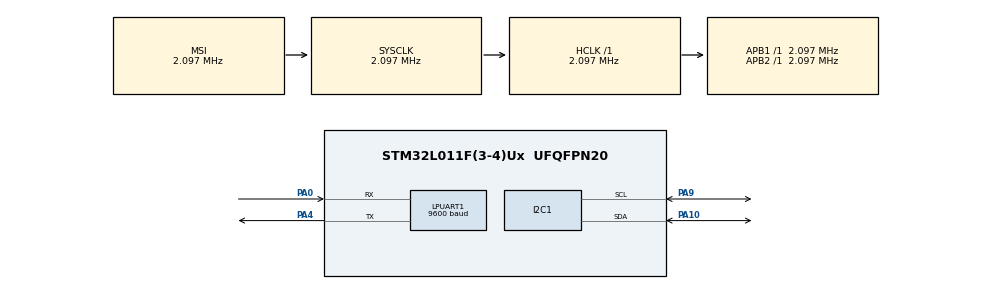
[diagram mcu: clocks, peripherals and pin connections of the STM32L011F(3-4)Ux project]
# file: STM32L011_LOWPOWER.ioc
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I2C1.Timing=0x00000608
LPUART1.BaudRate=9600
LPUART1.WordLength=UART_WORDLENGTH_8B
Mcu.Family=STM32L0
Mcu.Name=STM32L011F(3-4)Ux
Mcu.Package=UFQFPN20
NVIC.RTC_IRQn=true\:0\:0\:false\:false\:true\:true\:true\:true
PA0-CK_IN.Mode=Asynchronous
PA0-CK_IN.Signal=LPUART1_RX
PA10.Mode=I2C
PA10.Signal=I2C1_SDA
PA4.Mode=Asynchronous
PA4.Signal=LPUART1_TX
PA9.Mode=I2C
PA9.Signal=I2C1_SCL
ProjectManager.HeapSize=0x200
ProjectManager.StackSize=0x400
ProjectManager.TargetToolchain=STM32CubeIDE
RCC.AHBFreq_Value=2097000
RCC.APB1Freq_Value=2097000
RCC.APB1TimFreq_Value=2097000
RCC.APB2Freq_Value=2097000
RCC.APB2TimFreq_Value=2097000
RCC.HSE_VALUE=8000000
RCC.HSI16_VALUE=16000000
RCC.HSI_VALUE=16000000
RCC.LSE_VALUE=32768
RCC.MSI_VALUE=2097000
RCC.SYSCLKFreq_VALUE=2097000
RCC.VCOOutputFreq_Value=48000000
RTC.WakeUpClock=RTC_WAKEUPCLOCK_RTCCLK_DIV16
VP_RTC_VS_RTC_Activate.Mode=RTC_Enabled
VP_RTC_VS_RTC_WakeUp_intern.Mode=WakeUp
board=custom

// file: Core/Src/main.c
/* USER CODE BEGIN Header */
/* USER CODE END Header */
#include "main.h"

/* USER CODE BEGIN Includes */
#include "string.h"
#include <stdlib.h>

/* USER CODE END Includes */

I2C_HandleTypeDef hi2c1;

UART_HandleTypeDef hlpuart1;

RTC_HandleTypeDef hrtc;

void SystemClock_Config(void);
static void MX_GPIO_Init(void);
static void MX_RTC_Init(void);
static void MX_I2C1_Init(void);
static void MX_LPUART1_UART_Init(void);
/* USER CODE BEGIN PFP */
#ifdef DEBUG_LOG
	#define DEBUG_PRINT(msg) HAL_UART_Transmit(&hlpuart1, (uint8_t*)msg, strlen(msg), 200)
#else
	#define DEBUG_PRINT(msg) do {} while (0)
#endif
void I2C_Scanner(I2C_HandleTypeDef *hi2c);
/* USER CODE END PFP */

/* USER CODE BEGIN 0 */
/* Função auxiliar para converter byte em Hex (ex: 0x2A) sem usar sprintf */
/* Requer um buffer de pelo menos 3 bytes (2 digitos + \0) */
void Uint8ToHexStr(uint8_t num, char *str) {
	const char hexDigits[] = "0123456789ABCDEF";
	str[0] = hexDigits[(num >> 4) & 0x0F]; // Nibble alto
	str[1] = hexDigits[num & 0x0F];        // Nibble baixo
	str[2] = '\0';                         // Terminador nulo
}

/* Função auxiliar para converter Inteiro em String decimal simples */
void IntToDecStr(uint8_t num, char *str) {
	uint8_t i = 0;
	if (num >= 100)
		str[i++] = (num / 100) + '0';
	if (num >= 10)
		str[i++] = ((num / 10) % 10) + '0';
	str[i++] = (num % 10) + '0';
	str[i] = '\0';
}

void I2C_Scanner(I2C_HandleTypeDef *hi2c) {
	char smallBuf[4];
	uint8_t devices_found = 0;

	DEBUG_PRINT("\r\n--- Scanning I2C bus ---\r\n");

	for (uint8_t addr = 1; addr < 128; addr++) {
		if (HAL_I2C_IsDeviceReady(hi2c, (uint16_t) (addr << 1), 2, 10) == HAL_OK) {
			DEBUG_PRINT("Device found at: 0x");
			Uint8ToHexStr(addr, smallBuf);
			DEBUG_PRINT(smallBuf);

			DEBUG_PRINT(" (8-bit: 0x");
			Uint8ToHexStr(addr << 1, smallBuf);
			DEBUG_PRINT(smallBuf);
			DEBUG_PRINT(")\r\n");

			devices_found++;
		}
	}

	if (devices_found == 0) {
		DEBUG_PRINT("No I2C devices found!\r\n");
	} else {
		DEBUG_PRINT("\r\nTotal devices found: ");
		IntToDecStr(devices_found, smallBuf);
		DEBUG_PRINT(smallBuf);
		DEBUG_PRINT("\r\n");
	}

	DEBUG_PRINT("--- Scan Complete ---\r\n");
}
/* USER CODE END 0 */

int main(void)
{

  /* USER CODE BEGIN 1 */
	__HAL_RCC_SYSCFG_CLK_ENABLE();

	  // 2. Forçar o remapeamento físico da memória para a Flash (Ignora o BOOT0)
	  SYSCFG->CFGR1 &= ~(SYSCFG_CFGR1_MEM_MODE);

	  // 3. Atualizar a tabela de vetores do Cortex-M0+
	  SCB->VTOR = FLASH_BASE;
  /* USER CODE END 1 */

  /* MCU Configuration--------------------------------------------------------*/

  /* Reset of all peripherals, Initializes the Flash interface and the Systick. */
  HAL_Init();

  /* Configure the system clock */
  SystemClock_Config();

  /* Initialize all configured peripherals */
  MX_GPIO_Init();
  MX_RTC_Init();
  MX_I2C1_Init();
  MX_LPUART1_UART_Init();

  /* USER CODE BEGIN 2 */
  DEBUG_PRINT("--- Iniciando Firmware de Teste! ---\r\n");
  /* USER CODE END 2 */

  /* Infinite loop */
  /* USER CODE BEGIN WHILE */
  while (1)
  {
      I2C_Scanner(&hi2c1);
      HAL_Delay(2000); // Aguarda 2 segundos e repete o scan
    /* USER CODE END WHILE */

  }
}

void SystemClock_Config(void)
{
  RCC_OscInitTypeDef RCC_OscInitStruct = {0};
  RCC_ClkInitTypeDef RCC_ClkInitStruct = {0};
  RCC_PeriphCLKInitTypeDef PeriphClkInit = {0};

  /** Configure the main internal regulator output voltage
  */
  __HAL_PWR_VOLTAGESCALING_CONFIG(PWR_REGULATOR_VOLTAGE_SCALE1);

  /** Initializes the RCC Oscillators according to the specified parameters
  * in the RCC_OscInitTypeDef structure.
  */
  RCC_OscInitStruct.OscillatorType = RCC_OSCILLATORTYPE_LSI|RCC_OSCILLATORTYPE_MSI;
  RCC_OscInitStruct.LSIState = RCC_LSI_ON;
  RCC_OscInitStruct.MSIState = RCC_MSI_ON;
  RCC_OscInitStruct.MSICalibrationValue = 0;
  RCC_OscInitStruct.MSIClockRange = RCC_MSIRANGE_5;
  RCC_OscInitStruct.PLL.PLLState = RCC_PLL_NONE;
  if (HAL_RCC_OscConfig(&RCC_OscInitStruct) != HAL_OK)
  {
    Error_Handler();
  }

  /** Initializes the CPU, AHB and APB buses clocks
  */
  RCC_ClkInitStruct.ClockType = RCC_CLOCKTYPE_HCLK|RCC_CLOCKTYPE_SYSCLK
                              |RCC_CLOCKTYPE_PCLK1|RCC_CLOCKTYPE_PCLK2;
  RCC_ClkInitStruct.SYSCLKSource = RCC_SYSCLKSOURCE_MSI;
  RCC_ClkInitStruct.AHBCLKDivider = RCC_SYSCLK_DIV1;
  RCC_ClkInitStruct.APB1CLKDivider = RCC_HCLK_DIV1;
  RCC_ClkInitStruct.APB2CLKDivider = RCC_HCLK_DIV1;

  if (HAL_RCC_ClockConfig(&RCC_ClkInitStruct, FLASH_LATENCY_0) != HAL_OK)
  {
    Error_Handler();
  }
  PeriphClkInit.PeriphClockSelection = RCC_PERIPHCLK_LPUART1|RCC_PERIPHCLK_I2C1
                              |RCC_PERIPHCLK_RTC;
  PeriphClkInit.Lpuart1ClockSelection = RCC_LPUART1CLKSOURCE_PCLK1;
  PeriphClkInit.I2c1ClockSelection = RCC_I2C1CLKSOURCE_PCLK1;
  PeriphClkInit.RTCClockSelection = RCC_RTCCLKSOURCE_LSI;
  if (HAL_RCCEx_PeriphCLKConfig(&PeriphClkInit) != HAL_OK)
  {
    Error_Handler();
  }
}

static void MX_I2C1_Init(void)
{

  hi2c1.Instance = I2C1;
  hi2c1.Init.Timing = 0x00000709; // <-- CORRIGIDO PARA PCLK A 2.097 MHz
  hi2c1.Init.OwnAddress1 = 0;
  hi2c1.Init.AddressingMode = I2C_ADDRESSINGMODE_7BIT;
  hi2c1.Init.DualAddressMode = I2C_DUALADDRESS_DISABLE;
  hi2c1.Init.OwnAddress2 = 0;
  hi2c1.Init.OwnAddress2Masks = I2C_OA2_NOMASK;
  hi2c1.Init.GeneralCallMode = I2C_GENERALCALL_DISABLE;
  hi2c1.Init.NoStretchMode = I2C_NOSTRETCH_DISABLE;
  if (HAL_I2C_Init(&hi2c1) != HAL_OK)
  {
    Error_Handler();
  }

  /** Configure Analogue filter
  */
  if (HAL_I2CEx_ConfigAnalogFilter(&hi2c1, I2C_ANALOGFILTER_ENABLE) != HAL_OK)
  {
    Error_Handler();
  }

  /** Configure Digital filter
  */
  if (HAL_I2CEx_ConfigDigitalFilter(&hi2c1, 0) != HAL_OK)
  {
    Error_Handler();
  }

}

static void MX_LPUART1_UART_Init(void)
{

  hlpuart1.Instance = LPUART1;
  hlpuart1.Init.BaudRate = 9600;
  hlpuart1.Init.WordLength = UART_WORDLENGTH_8B; // <-- CORRIGIDO PARA 8 BITS
  hlpuart1.Init.StopBits = UART_STOPBITS_1;
  hlpuart1.Init.Parity = UART_PARITY_NONE;
  hlpuart1.Init.Mode = UART_MODE_TX_RX;
  hlpuart1.Init.HwFlowCtl = UART_HWCONTROL_NONE;
  hlpuart1.Init.OneBitSampling = UART_ONE_BIT_SAMPLE_DISABLE;
  hlpuart1.AdvancedInit.AdvFeatureInit = UART_ADVFEATURE_NO_INIT;
  if (HAL_UART_Init(&hlpuart1) != HAL_OK)
  {
    Error_Handler();
  }

}

static void MX_RTC_Init(void)
{

  /** Initialize RTC Only
  */
  hrtc.Instance = RTC;
  hrtc.Init.HourFormat = RTC_HOURFORMAT_24;
  hrtc.Init.AsynchPrediv = 127;
  hrtc.Init.SynchPrediv = 255;
  hrtc.Init.OutPut = RTC_OUTPUT_DISABLE;
  hrtc.Init.OutPutRemap = RTC_OUTPUT_REMAP_NONE;
  hrtc.Init.OutPutPolarity = RTC_OUTPUT_POLARITY_HIGH;
  hrtc.Init.OutPutType = RTC_OUTPUT_TYPE_OPENDRAIN;
  if (HAL_RTC_Init(&hrtc) != HAL_OK)
  {
    Error_Handler();
  }

  /** Enable the WakeUp
  */
  if (HAL_RTCEx_SetWakeUpTimer_IT(&hrtc, 0, RTC_WAKEUPCLOCK_RTCCLK_DIV16) != HAL_OK)
  {
    Error_Handler();
  }

}

static void MX_GPIO_Init(void)
{

  /* GPIO Ports Clock Enable */
  __HAL_RCC_GPIOA_CLK_ENABLE();

}

void Error_Handler(void)
{
}
